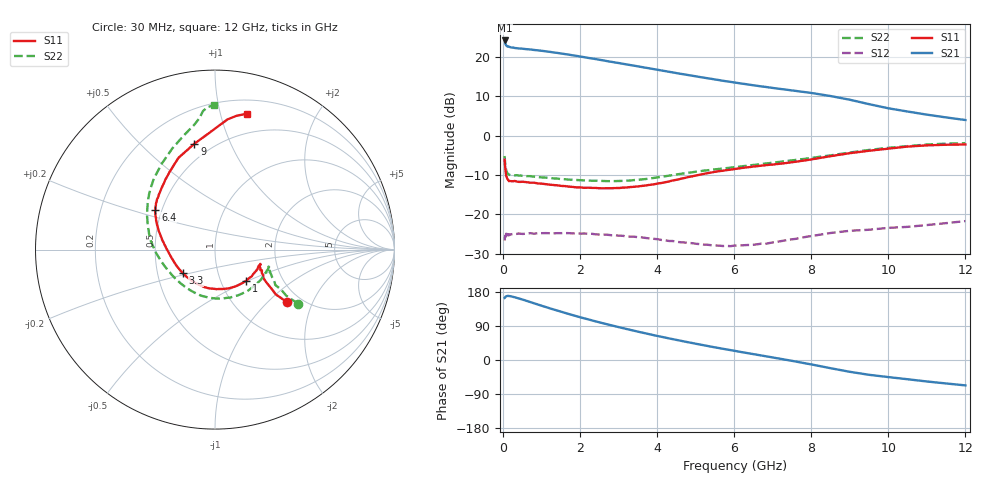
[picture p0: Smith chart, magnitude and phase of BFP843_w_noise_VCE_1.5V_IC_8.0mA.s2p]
! Infineon Technologies  Discrete & RF Semiconductors
! BFP843
! VCE =  1.5 V,  IC =  8.0 mA
! Common Emitter S-Parameters:  Aug 2013
# GHz  S  MA  R  50
!  f  S11  S21  S12  S22
! GHz  MAG  ANG  MAG  ANG  MAG  ANG  MAG  ANG
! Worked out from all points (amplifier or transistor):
!   103 points, 30 MHz to 12 GHz, reference 50 ohm
!   highest |S21| = 24.2 dB at 30 MHz (marker M1)
!   |S21| within 3 dB of that: start of sweep to 1.273 GHz
!   unconditionally stable (mu >= 1): 143.6 MHz to 10.98 GHz
!   at 400 MHz: K = 1.01, MAG = 22.9 dB, |S12| = -24.8 dB
!   at 3.7 GHz: K = 1.30, MAG = 18.3 dB, |S12| = -26.0 dB
!   at 12 GHz: K = 0.85, MSG = 12.8 dB, |S12| = -21.7 dB
!   lowest NFmin = 0.91 dB at 450 MHz
!   S11 on the Smith chart (normalised r, x): 30 MHz: 1.70, -1.32; 1 GHz: 1.32, -0.49; 3.3 GHz: 0.67, -0.19; 6.4 GHz: 0.46, +0.24; 9 GHz: 0.40, +0.74; 12 GHz: 0.32, +1.21
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0.03  0.4971 -36.1  16.27 163.7  0.0466 32.6  0.5528 -33.1
0.04  0.4207 -36.4  15.29 164.6  0.0522 23.2  0.4737 -32.9
0.05  0.3797 -34.5  14.73 166.9  0.0535 24.3  0.4291 -31.1
0.07  0.3124 -30.4  14.07 168.1  0.0568 13.2  0.372 -27.7
0.13  0.2712 -21.8  13.62 169.2  0.0554 8.9  0.3236 -20.3
0.3  0.2665 -18.2  13.04 165.4  0.0566 2.8  0.3136 -19.0
0.7  0.2531 -32.0  12.49 152.8  0.0578 0.0  0.3065 -32.9
1  0.2458 -44.5  12.01 142.9  0.0578 -2.4  0.2954 -46.2
1.3  0.2364 -57.0  11.47 133.4  0.0575 -4.0  0.2871 -59.2
1.6  0.2293 -70.3  10.91 124.3  0.058 -6.1  0.2803 -72.3
2.1  0.2179 -92.9  9.968 109.9  0.0573 -8.8  0.2707 -93.2
2.7  0.2154 -118.8  8.87 94.1  0.0552 -13.3  0.2649 -117.1
3.3  0.2229 -143.8  7.911 79.4  0.0523 -16.0  0.27 -139.8
4.1  0.251 -172.2  6.761 61.3  0.0474 -18.1  0.3008 -165.0
5  0.3128 165.7  5.694 42.8  0.0424 -15.8  0.3495 175.9
6.1  0.3833 149.9  4.676 22.4  0.0403 -5.3  0.4039 158.5
6.4  0.4002 146.1  4.452 17.1  0.0409 -3.0  0.4207 154.1
7.6  0.4677 127.4  3.713 -4.2  0.049 4.1  0.4936 136.8
8.5  0.5504 111.7  3.197 -21.7  0.0581 2.2  0.5636 121.7
9  0.6011 101.0  2.869 -31.2  0.062 -0.4  0.6128 112.7
10.5  0.7289 84.5  2.032 -50.8  0.0695 -6.3  0.7382 96.7
12  0.7745 76.6  1.585 -67.0  0.0823 -12.6  0.8056 90.4
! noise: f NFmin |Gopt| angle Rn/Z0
0.45  0.91  0.1  6  0.01
0.9  0.92  0.1  16  0.03
1.5  0.94  0.1  26  0.09
1.9  0.96  0.09  37  0.17
2.4  1  0.07  48  0.24
3.5  1.07  0.05  59  0.28
5.5  1.21  0.14  -134  0.33
10  1.87  0.5  -69  0.42
